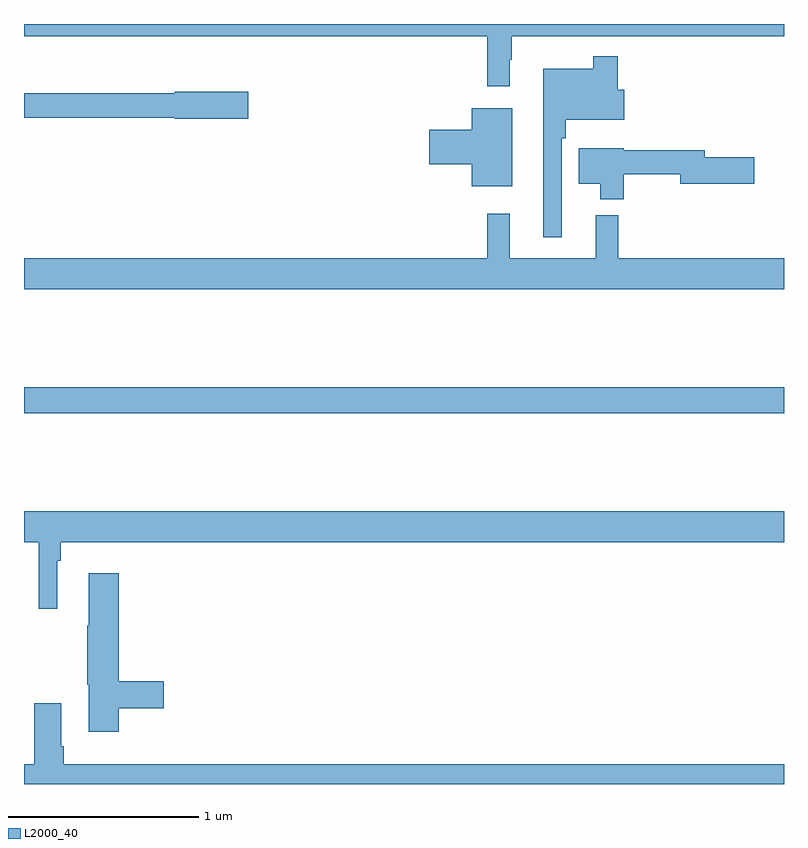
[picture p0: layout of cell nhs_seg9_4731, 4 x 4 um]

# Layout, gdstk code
import gdstk
lib = gdstk.Library(unit=1e-6, precision=1e-09)
def R(c, l, rs):  # rectangles x0, y0, x1, y1
    for r in rs: c.add(gdstk.rectangle(r[:2], r[2:], *l))
def P(c, l, *ps):  # polygons
    for p in ps: c.add(gdstk.Polygon(p, *l))
L2000_40 = (2000, 40)

nhs_seg9_4731 = lib.new_cell('nhs_seg9_4731')
R(nhs_seg9_4731, L2000_40, [(385,1178.452,389,1178.588)])
P(nhs_seg9_4731, L2000_40, [(387.556,1180.313),(387.568,1180.313),(387.568,1180.436),(389,1180.436),(389,1180.5),(385,1180.5),(385,1180.436),(387.439,1180.436),(387.439,1180.173),(387.556,1180.173)],
  [(387.831,1179.899),(387.851,1179.899),(387.851,1179.995),(388.159,1179.995),(388.159,1180.153),(388.124,1180.153),(388.124,1180.33),(387.996,1180.33),(387.996,1180.264),(387.734,1180.264),(387.734,1179.378),(387.831,1179.378)],
  [(386.179,1180.143),(385.794,1180.143),(385.794,1180.135),(385,1180.135),(385,1180.006),(385.794,1180.006),(385.794,1180.001),(386.179,1180.001)],
  [(387.571,1180.057),(387.356,1180.057),(387.356,1179.944),(387.132,1179.944),(387.132,1179.761),(387.356,1179.761),(387.356,1179.647),(387.571,1179.647)],
  [(388.156,1179.708),(388.454,1179.708),(388.454,1179.658),(388.843,1179.658),(388.843,1179.8),(388.582,1179.8),(388.582,1179.836),(388.156,1179.836),(388.156,1179.847),(387.92,1179.847),(387.92,1179.659),(388.034,1179.659),(388.034,1179.578),(388.156,1179.578)],
  [(389,1179.268),(388.127,1179.268),(388.127,1179.493),(388.01,1179.493),(388.01,1179.268),(387.557,1179.268),(387.557,1179.502),(387.439,1179.502),(387.439,1179.268),(385,1179.268),(385,1179.104),(389,1179.104)],
  [(385.174,1177.676),(385.193,1177.676),(385.193,1177.772),(389,1177.772),(389,1177.936),(385,1177.936),(385,1177.772),(385.077,1177.772),(385.077,1177.422),(385.174,1177.422)],
  [(385.499,1176.898),(385.735,1176.898),(385.735,1177.04),(385.499,1177.04),(385.499,1177.609),(385.34,1177.609),(385.34,1177.334),(385.333,1177.334),(385.333,1177.023),(385.34,1177.023),(385.34,1176.774),(385.499,1176.774)],
  [(389,1176.604),(385.208,1176.604),(385.208,1176.7),(385.195,1176.7),(385.195,1176.925),(385.055,1176.925),(385.055,1176.604),(385,1176.604),(385,1176.5),(389,1176.5)])

lib.write_gds('nhs_seg9_4731.gds')
